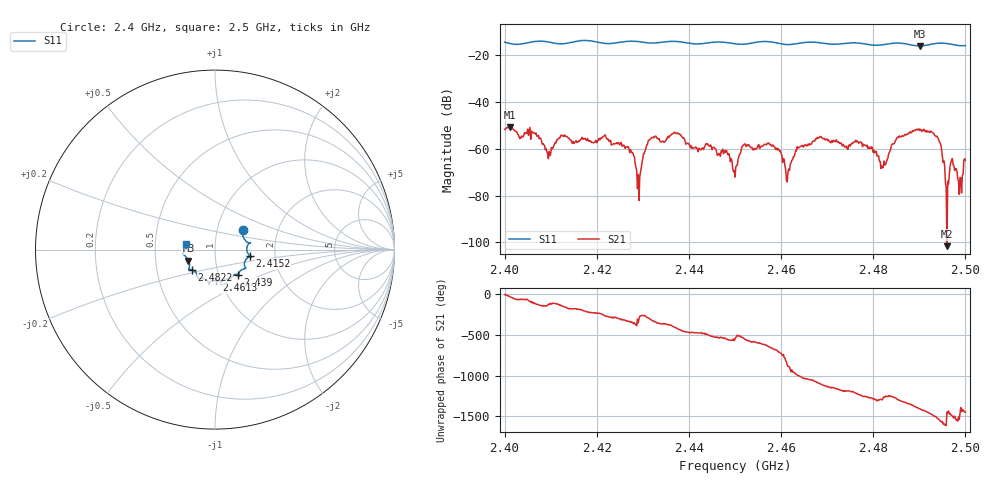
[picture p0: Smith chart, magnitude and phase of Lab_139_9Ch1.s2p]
# Hz S RI R 50
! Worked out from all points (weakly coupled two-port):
!   601 points, 2.4 GHz to 2.5 GHz, reference 50 ohm
!   highest |S21| = -50.62 dB at 2.4012 GHz (marker M1); lowest = -101.6 dB at 2.496 GHz (marker M2)
!   lowest |S11| = -15.9 dB at 2.4902 GHz (marker M3), VSWR 1.38, Z = 36.9 - j4.63 ohm
!   |S11| at or under -10 dB: start of sweep to end of sweep
!   S12 and S22 are empty: the file has one direction only
!   S11 on the Smith chart (normalised r, x): 2.4 GHz: 1.33, +0.31; 2.4152 GHz: 1.48, -0.11; 2.439 GHz: 1.24, -0.36; 2.4613 GHz: 0.96, -0.34; 2.4822 GHz: 0.76, -0.17; 2.5 GHz: 0.72, +0.05
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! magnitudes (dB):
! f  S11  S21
! 2.4 GHz  -14.3  -51.7
! 2.4012 GHz  -14.9  -50.6
! 2.4095 GHz  -14.2  -64.2
! 2.4152 GHz  -14.1  -57.4
! 2.4167 GHz  -13.6  -55.6
! 2.4263 GHz  -14.0  -59.3
! 2.429 GHz  -14.1  -71.0
! 2.4312 GHz  -14.6  -56.5
! 2.4333 GHz  -14.5  -55.8
! 2.439 GHz  -14.5  -55.7
! 2.45 GHz  -15.0  -72.1
! 2.4518 GHz  -15.2  -58.3
! 2.4572 GHz  -14.1  -57.5
! 2.4613 GHz  -15.4  -74.2
! 2.4667 GHz  -14.3  -57.6
! 2.477 GHz  -14.7  -57.1
! 2.4822 GHz  -15.4  -67.9
! 2.4833 GHz  -15.0  -62.2
! 2.4902 GHz  -15.9  -51.6
! 2.4942 GHz  -14.8  -55.9
! 2.496 GHz  -14.9  -101.6
! 2.5 GHz  -15.8  -64.9
